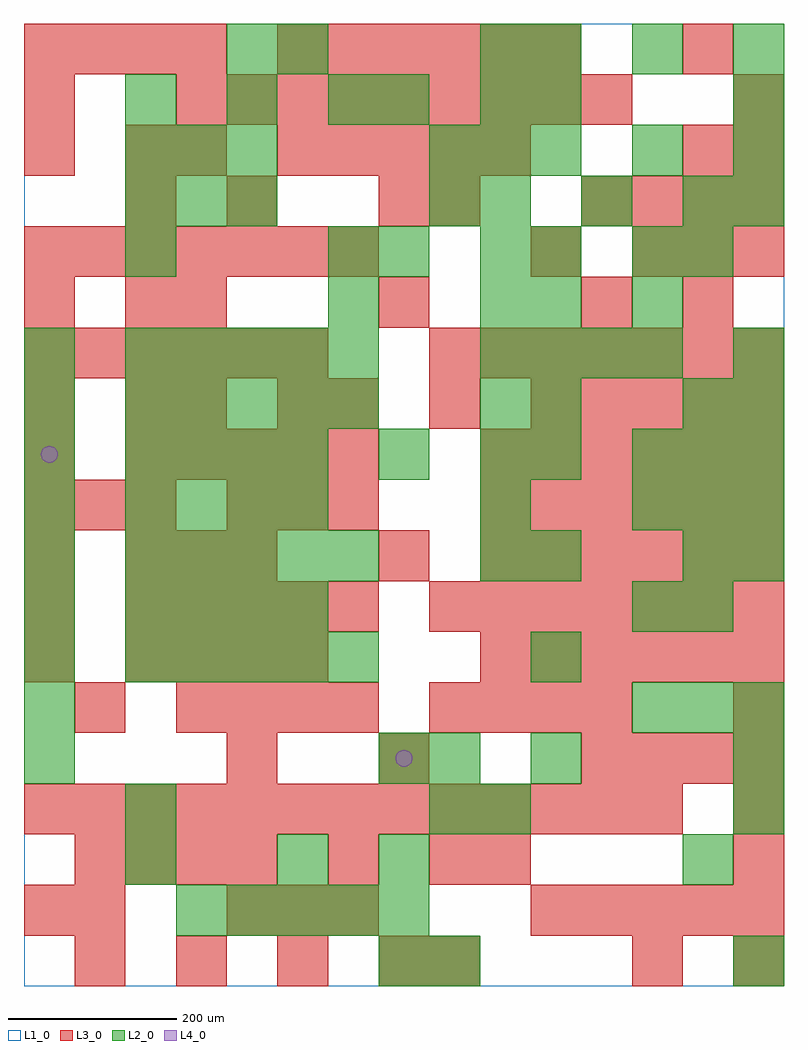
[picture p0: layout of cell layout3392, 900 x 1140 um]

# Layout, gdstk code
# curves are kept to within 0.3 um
import gdstk
lib = gdstk.Library(unit=1e-6, precision=1e-09)
def R(c, l, rs):  # rectangles x0, y0, x1, y1
    for r in rs: c.add(gdstk.rectangle(r[:2], r[2:], *l))
def A(c, l, x, y, w, h, nx, ny, dx, dy):  # array of equal rectangles
    R(c, l, [(x+i*dx, y+j*dy, x+i*dx+w, y+j*dy+h) for i in range(nx) for j in range(ny)])
def P(c, l, *ps):  # polygons
    for p in ps: c.add(gdstk.Polygon(p, *l))
L1_0 = (1, 0)
L2_0 = (2, 0)
L3_0 = (3, 0)
L4_0 = (4, 0)

layout3392 = lib.new_cell('layout3392')
R(layout3392, L1_0, [(0,0,900,1140)])
A(layout3392, L2_0, 420, 0, 60, 60, 1, 3, 0, 120)
A(layout3392, L2_0, 180, 60, 60, 60, 5, 1, 60, 0)
A(layout3392, L2_0, 0, 240, 60, 60, 1, 9, 0, 60)
A(layout3392, L2_0, 600, 240, 60, 60, 1, 4, 0, 120)
A(layout3392, L2_0, 720, 300, 60, 60, 3, 2, 60, 240)
A(layout3392, L2_0, 120, 360, 60, 60, 5, 2, 60, 120)
A(layout3392, L2_0, 120, 420, 60, 60, 4, 2, 60, 120)
A(layout3392, L2_0, 540, 480, 60, 60, 1, 4, 0, 60)
A(layout3392, L2_0, 780, 480, 60, 60, 1, 3, 0, 180)
A(layout3392, L2_0, 120, 600, 60, 60, 4, 1, 60, 0)
A(layout3392, L2_0, 720, 600, 60, 60, 3, 1, 60, 0)
A(layout3392, L2_0, 120, 660, 60, 60, 5, 2, 60, 60)
A(layout3392, L2_0, 540, 720, 60, 60, 4, 1, 60, 0)
A(layout3392, L2_0, 120, 900, 60, 60, 3, 2, 60, 60)
A(layout3392, L2_0, 540, 900, 60, 60, 3, 1, 120, 0)
A(layout3392, L2_0, 840, 900, 60, 60, 1, 3, 0, 60)
A(layout3392, L2_0, 480, 960, 60, 60, 3, 1, 60, 0)
A(layout3392, L2_0, 120, 1020, 60, 60, 3, 1, 120, 0)
A(layout3392, L2_0, 600, 1080, 60, 60, 3, 1, 120, 0)
R(layout3392, L2_0, [(480,0,540,60), (840,0,900,60), (120,120,180,180), (300,120,360,180), (780,120,840,180), (120,180,180,240), (480,180,540,240), (540,180,600,240), (840,180,900,240), (480,240,540,300), (840,240,900,300), (720,420,780,480), (780,420,840,480), (840,480,900,540), (420,600,480,660), (600,660,660,720), (840,660,900,720), (840,720,900,780), (360,780,420,840), (540,780,600,840), (600,780,660,840), (720,780,780,840), (120,840,180,900), (360,840,420,900), (420,840,480,900), (540,840,600,900), (600,840,660,900), (720,840,780,900), (480,900,540,960), (720,960,780,1020), (420,1020,480,1080), (540,1020,600,1080), (600,1020,660,1080), (240,1080,300,1140), (300,1080,360,1140), (540,1080,600,1140)])
A(layout3392, L3_0, 60, 0, 60, 60, 4, 1, 120, 0)
A(layout3392, L3_0, 240, 60, 60, 60, 3, 2, 60, 480)
A(layout3392, L3_0, 600, 60, 60, 60, 5, 1, 60, 0)
A(layout3392, L3_0, 60, 120, 60, 60, 4, 1, 60, 0)
A(layout3392, L3_0, 0, 180, 60, 60, 13, 1, 60, 0)
A(layout3392, L3_0, 660, 240, 60, 60, 4, 2, 60, 420)
A(layout3392, L3_0, 180, 300, 60, 60, 4, 1, 60, 0)
A(layout3392, L3_0, 480, 300, 60, 60, 4, 1, 60, 0)
A(layout3392, L3_0, 0, 360, 60, 60, 1, 3, 0, 60)
A(layout3392, L3_0, 120, 360, 60, 60, 4, 1, 60, 0)
A(layout3392, L3_0, 540, 360, 60, 60, 6, 2, 60, 120)
A(layout3392, L3_0, 120, 420, 60, 60, 5, 2, 60, 180)
A(layout3392, L3_0, 480, 420, 60, 60, 7, 2, 60, 300)
A(layout3392, L3_0, 120, 480, 60, 60, 3, 1, 60, 0)
A(layout3392, L3_0, 0, 540, 60, 60, 3, 1, 60, 0)
A(layout3392, L3_0, 540, 540, 60, 60, 6, 2, 60, 60)
A(layout3392, L3_0, 120, 660, 60, 60, 1, 3, 0, 120)
A(layout3392, L3_0, 360, 660, 60, 60, 3, 1, 120, 0)
A(layout3392, L3_0, 0, 720, 60, 60, 6, 1, 60, 0)
A(layout3392, L3_0, 180, 780, 60, 60, 3, 1, 240, 0)
A(layout3392, L3_0, 0, 840, 60, 60, 7, 1, 60, 0)
A(layout3392, L3_0, 720, 840, 60, 60, 3, 1, 60, 0)
A(layout3392, L3_0, 660, 900, 60, 60, 4, 1, 60, 0)
A(layout3392, L3_0, 300, 960, 60, 60, 5, 1, 60, 0)
A(layout3392, L3_0, 180, 1020, 60, 60, 9, 1, 60, 0)
A(layout3392, L3_0, 0, 1080, 60, 60, 4, 1, 60, 0)
A(layout3392, L3_0, 300, 1080, 60, 60, 6, 1, 60, 0)
R(layout3392, L3_0, [(480,0,540,60), (720,0,780,60), (840,0,900,60), (0,60,60,120), (60,60,120,120), (360,120,420,180), (480,120,540,180), (540,120,600,180), (840,120,900,180), (840,180,900,240), (240,240,300,300), (420,240,480,300), (60,300,120,360), (840,300,900,360), (420,480,480,540), (0,600,60,660), (0,660,60,720), (180,660,240,720), (300,660,360,720), (0,780,60,840), (780,780,840,840), (600,840,660,900), (240,900,300,960), (420,900,480,960), (480,900,540,960), (0,960,60,1020), (120,960,180,1020), (180,960,240,1020), (780,960,840,1020), (840,960,900,1020), (0,1020,60,1080), (840,1020,900,1080), (780,1080,840,1140)])
P(layout3392, L4_0, [(40,630),(39.239,633.827),(37.071,637.071),(33.827,639.239),(30,640),(26.173,639.239),(22.929,637.071),(20.761,633.827),(20,630),(20.761,626.173),(22.929,622.929),(26.173,620.761),(30,620),(33.827,620.761),(37.071,622.929),(39.239,626.173)],
  [(460,270),(459.239,273.827),(457.071,277.071),(453.827,279.239),(450,280),(446.173,279.239),(442.929,277.071),(440.761,273.827),(440,270),(440.761,266.173),(442.929,262.929),(446.173,260.761),(450,260),(453.827,260.761),(457.071,262.929),(459.239,266.173)])

lib.write_gds('layout3392.gds')
